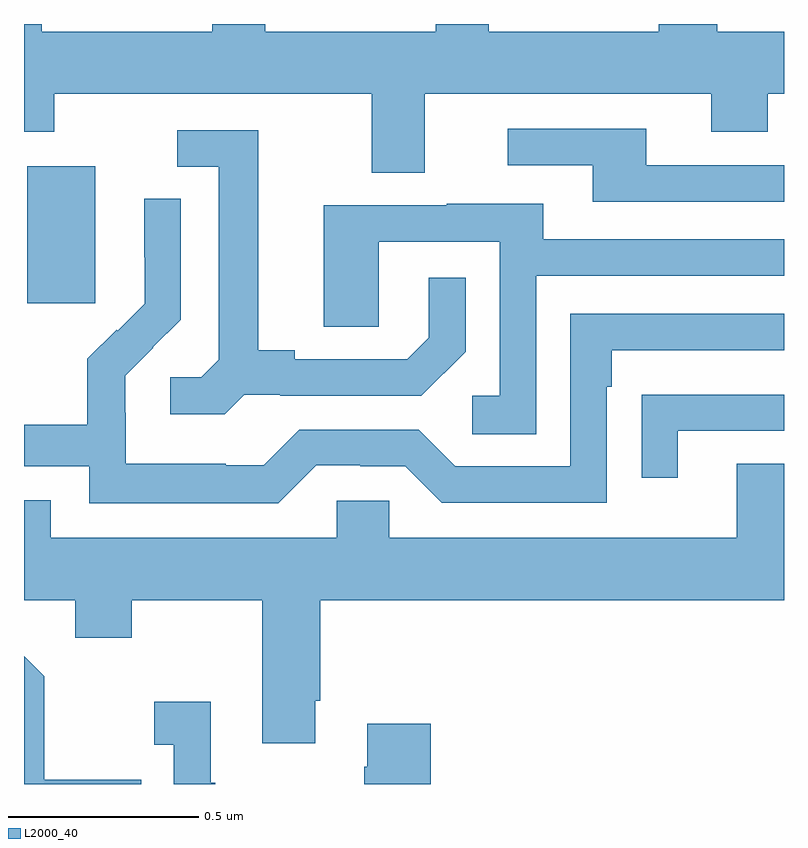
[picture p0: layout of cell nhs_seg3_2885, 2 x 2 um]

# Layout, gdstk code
import gdstk
lib = gdstk.Library(unit=1e-6, precision=1e-09)
def R(c, l, rs):  # rectangles x0, y0, x1, y1
    for r in rs: c.add(gdstk.rectangle(r[:2], r[2:], *l))
def P(c, l, *ps):  # polygons
    for p in ps: c.add(gdstk.Polygon(p, *l))
L2000_40 = (2000, 40)

nhs_seg3_2885 = lib.new_cell('nhs_seg3_2885')
R(nhs_seg3_2885, L2000_40, [(146.009,733.665,146.188,734.026)])
P(nhs_seg3_2885, L2000_40, [(147.055,734.216),(147.809,734.216),(147.809,734.117),(147.957,734.117),(147.957,734.216),(148,734.216),(148,734.38),(147.824,734.38),(147.824,734.4),(147.671,734.4),(147.671,734.38),(147.223,734.38),(147.223,734.4),(147.083,734.4),(147.083,734.38),(146.635,734.38),(146.635,734.4),(146.495,734.4),(146.495,734.38),(146.047,734.38),(146.047,734.4),(146,734.4),(146,734.117),(146.079,734.117),(146.079,734.216),(146.915,734.216),(146.915,734.008),(147.055,734.008)],
  [(148,734.028),(147.637,734.028),(147.637,734.124),(147.273,734.124),(147.273,734.028),(147.497,734.028),(147.497,733.932),(148,733.932)],
  [(146.58,733.425),(146.674,733.425),(146.674,733.422),(147.046,733.422),(147.162,733.538),(147.162,733.732),(147.065,733.732),(147.065,733.575),(147.008,733.518),(146.713,733.518),(146.713,733.541),(146.617,733.541),(146.617,734.121),(146.403,734.121),(146.403,734.025),(146.513,734.025),(146.513,733.517),(146.466,733.47),(146.385,733.47),(146.385,733.373),(146.528,733.373)],
  [(146.769,733.239),(146.885,733.239),(146.885,733.236),(147.003,733.236),(147.099,733.14),(147.534,733.14),(147.534,733.445),(147.547,733.445),(147.547,733.542),(148,733.542),(148,733.638),(147.438,733.638),(147.438,733.236),(147.135,733.236),(147.039,733.332),(146.724,733.332),(146.631,733.239),(146.531,733.239),(146.531,733.243),(146.268,733.243),(146.268,733.377),(146.266,733.377),(146.266,733.474),(146.34,733.548),(146.339,733.549),(146.412,733.622),(146.412,733.94),(146.316,733.94),(146.316,733.786),(146.318,733.786),(146.318,733.664),(146.247,733.593),(146.244,733.596),(146.167,733.519),(146.167,733.345),(146,733.345),(146,733.236),(146.172,733.236),(146.172,733.139),(146.669,733.139)],
  [(147.348,733.737),(148,733.737),(148,733.833),(147.367,733.833),(147.367,733.927),(147.113,733.927),(147.113,733.923),(146.789,733.923),(146.789,733.603),(146.934,733.603),(146.934,733.827),(147.252,733.827),(147.252,733.422),(147.18,733.422),(147.18,733.321),(147.348,733.321)],
  [(147.721,733.329),(148,733.329),(148,733.425),(147.727,733.425),(147.727,733.424),(147.625,733.424),(147.625,733.206),(147.721,733.206)],
  [(146.767,732.619),(146.78,732.619),(146.78,732.884),(148,732.884),(148,733.243),(147.875,733.243),(147.875,733.048),(146.961,733.048),(146.961,733.146),(146.823,733.146),(146.823,733.048),(146.071,733.048),(146.071,733.147),(146,733.147),(146,732.884),(146.135,732.884),(146.135,732.785),(146.283,732.785),(146.283,732.884),(146.627,732.884),(146.627,732.507),(146.767,732.507)],
  [(146.309,732.411),(146.053,732.411),(146.053,732.683),(146,732.736),(146,732.4),(146.309,732.4)],
  [(146.503,732.403),(146.491,732.403),(146.491,732.616),(146.343,732.616),(146.343,732.503),(146.394,732.503),(146.394,732.4),(146.503,732.4)],
  [(147.071,732.559),(146.903,732.559),(146.903,732.446),(146.896,732.446),(146.896,732.4),(147.071,732.4)])

lib.write_gds('nhs_seg3_2885.gds')
